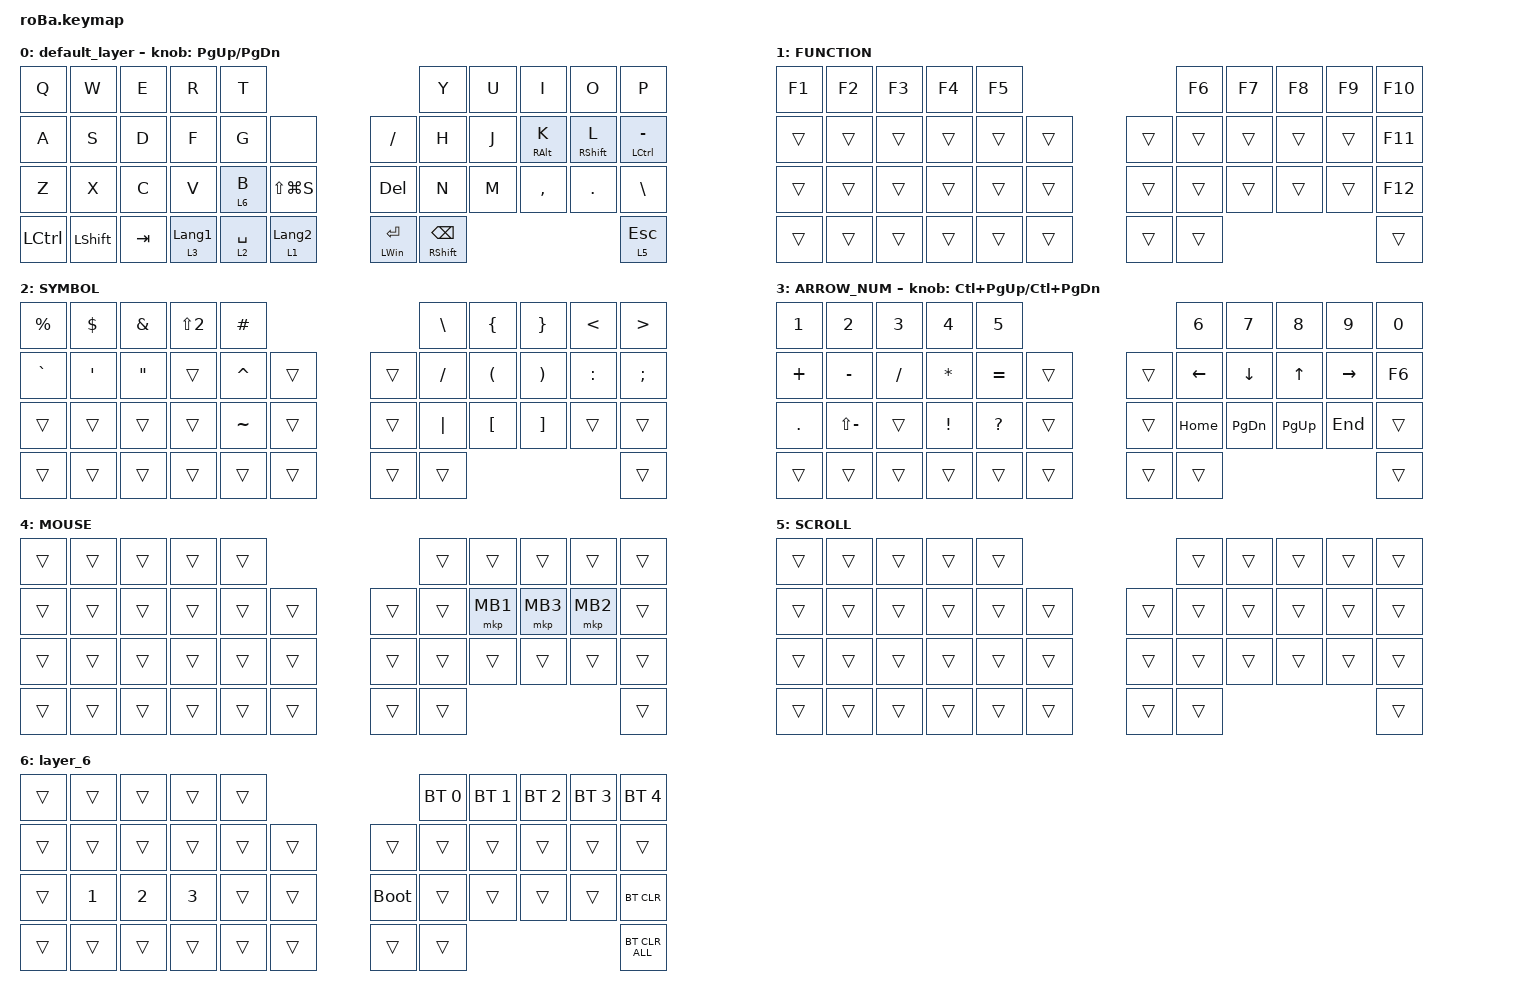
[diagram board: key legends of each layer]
#include <behaviors.dtsi>
#include <dt-bindings/zmk/bt.h>
#include <dt-bindings/zmk/keys.h>
#include <dt-bindings/zmk/pointing.h>

&mt {
    flavor = "balanced";
    quick-tap-ms = <200>;
};

&lt { quick-tap-ms = <200>; };

&trackball {
    // automouse-layer = <4>;

    scroll-layers = <5>;

    // arrows {
    //     layers = <3>;
    //     bindings =
    //         <&kp RIGHT_ARROW>,
    //         <&kp LEFT_ARROW>,
    //         <&kp UP_ARROW>,
    //         <&kp DOWN_ARROW>;
    //     tick = <10>;
    //     wait-ms = <5>;
    //     tap-ms = <5>;
    // };
};

/ {
    combos {
        compatible = "zmk,combos";

        LeftMouseClick {
            bindings = <&mkp MB1>;
            key-positions = <18 19>;
        };

        RightMouseClick {
            bindings = <&mkp MB2>;
            key-positions = <19 20>;
        };

        MiddleClick {
            bindings = <&mkp MB3>;
            key-positions = <18 20>;
        };

        SingleQuote {
            bindings = <&kp SINGLE_QUOTE>;
            key-positions = <8 20>;
        };

        DoubleQuote {
            bindings = <&kp DOUBLE_QUOTES>;
            key-positions = <20 32>;
        };

        semicolon {
            bindings = <&kp SEMICOLON>;
            key-positions = <33 21>;
        };

        colon {
            bindings = <&kp COLON>;
            key-positions = <21 9>;
        };

        question {
            bindings = <&kp QUESTION>;
            key-positions = <7 19>;
        };

        exclamation {
            bindings = <&kp EXCLAMATION>;
            key-positions = <31 19>;
        };
    };

    macros {
        to_layer_0: to_layer_0 {
            compatible = "zmk,behavior-macro-one-param";
            #binding-cells = <1>;
            bindings = <&to 0 &macro_param_1to1 &kp MACRO_PLACEHOLDER>;
            label = "TO_LAYER_0";
        };
    };

    behaviors {
        lt_to_layer_0: lt_to_layer_0 {
            compatible = "zmk,behavior-hold-tap";
            label = "LAYER_TAP_TO_0";
            bindings = <&mo>, <&to_layer_0>;

            #binding-cells = <2>;
            tapping-term-ms = <200>;
        };
    };

    keymap {
        compatible = "zmk,keymap";

        default_layer {
            bindings = <
&kp Q      &kp W           &kp E    &kp R                        &kp T                                                              &kp Y                      &kp U  &kp I            &kp O              &kp P
&kp A      &kp S           &kp D    &kp F                        &kp G        &none                            &kp SLASH            &kp H                      &kp J  &mt RIGHT_ALT K  &mt RIGHT_SHIFT L  &mt LCTRL MINUS
&kp Z      &kp X           &kp C    &kp V                        &lt 6 B      &kp LS(LG(S))                    &kp DELETE           &kp N                      &kp M  &kp COMMA        &kp DOT            &kp BACKSLASH
&kp LCTRL  &kp LEFT_SHIFT  &kp TAB  &lt_to_layer_0 3 LANGUAGE_1  &lt 2 SPACE  &lt_to_layer_0 1 LANGUAGE_2      &mt LEFT_WIN RETURN  &mt RIGHT_SHIFT BACKSPACE                                             &lt 5 ESCAPE
            >;

            sensor-bindings = <&inc_dec_kp PG_UP PAGE_DOWN>;
        };

        FUNCTION {
            bindings = <
&kp F1  &kp F2  &kp F3  &kp F4  &kp F5                      &kp F6  &kp F7  &kp F8  &kp F9  &kp F10
&trans  &trans  &trans  &trans  &trans  &trans      &trans  &trans  &trans  &trans  &trans  &kp F11
&trans  &trans  &trans  &trans  &trans  &trans      &trans  &trans  &trans  &trans  &trans  &kp F12
&trans  &trans  &trans  &trans  &trans  &trans      &trans  &trans                          &trans
            >;
        };

        SYMBOL {
            bindings = <
&kp PERCENT  &kp DOLLAR  &kp AMPERSAND      &kp LS(NUMBER_2)  &kp HASH                       &kp BACKSLASH  &kp LEFT_BRACE        &kp RIGHT_BRACE        &kp LESS_THAN  &kp GREATER_THAN
&kp GRAVE    &kp SQT     &kp DOUBLE_QUOTES  &trans            &kp CARET  &trans      &trans  &kp SLASH      &kp LEFT_PARENTHESIS  &kp RIGHT_PARENTHESIS  &kp COLON      &kp SEMICOLON
&trans       &trans      &trans             &trans            &kp TILDE  &trans      &trans  &kp PIPE       &kp LEFT_BRACKET      &kp RIGHT_BRACKET      &trans         &trans
&trans       &trans      &trans             &trans            &trans     &trans      &trans  &trans                                                                     &trans
            >;
        };

        ARROW_NUM {
            bindings = <
&kp NUMBER_1  &kp NUMBER_2   &kp NUMBER_3  &kp NUMBER_4     &kp N5                            &kp NUMBER_6    &kp NUMBER_7    &kp NUMBER_8  &kp NUMBER_9  &kp NUMBER_0
&kp PLUS      &kp MINUS      &kp SLASH     &kp ASTERISK     &kp EQUAL     &trans      &trans  &kp LEFT_ARROW  &kp DOWN_ARROW  &kp UP_ARROW  &kp RIGHT     &kp F6
&kp PERIOD    &kp LS(MINUS)  &trans        &kp EXCLAMATION  &kp QUESTION  &trans      &trans  &kp HOME        &kp PAGE_DOWN   &kp PAGE_UP   &kp END       &trans
&trans        &trans         &trans        &trans           &trans        &trans      &trans  &trans                                                      &trans
            >;

            sensor-bindings = <&inc_dec_kp LC(PAGE_UP) LC(PAGE_DOWN)>;
        };

        MOUSE {
            bindings = <
&trans  &trans  &trans  &trans  &trans                      &trans  &trans    &trans    &trans    &trans
&trans  &trans  &trans  &trans  &trans  &trans      &trans  &trans  &mkp MB1  &mkp MB3  &mkp MB2  &trans
&trans  &trans  &trans  &trans  &trans  &trans      &trans  &trans  &trans    &trans    &trans    &trans
&trans  &trans  &trans  &trans  &trans  &trans      &trans  &trans                                &trans
            >;
        };

        SCROLL {
            bindings = <
&trans  &trans  &trans  &trans  &trans                      &trans  &trans  &trans  &trans  &trans
&trans  &trans  &trans  &trans  &trans  &trans      &trans  &trans  &trans  &trans  &trans  &trans
&trans  &trans  &trans  &trans  &trans  &trans      &trans  &trans  &trans  &trans  &trans  &trans
&trans  &trans  &trans  &trans  &trans  &trans      &trans  &trans                          &trans
            >;
        };

        layer_6 {
            bindings = <
&trans  &trans        &trans        &trans        &trans                           &bt BT_SEL 0  &bt BT_SEL 1  &bt BT_SEL 2  &bt BT_SEL 3  &bt BT_SEL 4
&trans  &trans        &trans        &trans        &trans  &trans      &trans       &trans        &trans        &trans        &trans        &trans
&trans  &kp NUMBER_1  &kp NUMBER_2  &kp NUMBER_3  &trans  &trans      &bootloader  &trans        &trans        &trans        &trans        &bt BT_CLR
&trans  &trans        &trans        &trans        &trans  &trans      &trans       &trans                                                  &bt BT_CLR_ALL
            >;
        };
    };
};
